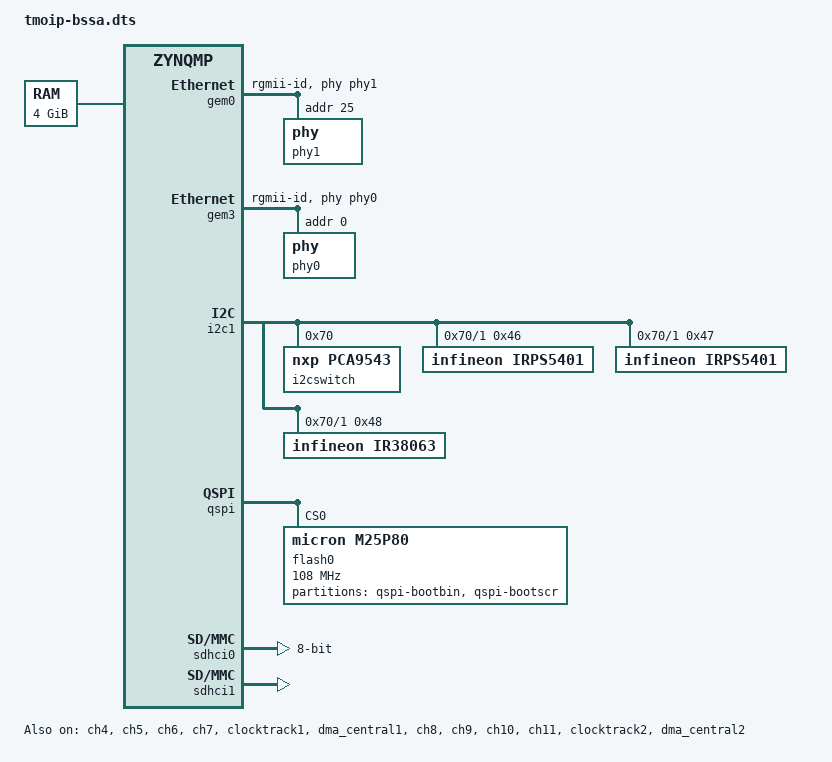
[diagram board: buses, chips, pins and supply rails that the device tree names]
/dts-v1/;
#include "zynqmp.dtsi"
#include "zynqmp-clk-ccf.dtsi"
#include "pl.dtsi"
#include "pcw.dtsi"
#include <dt-bindings/phy/phy.h>
#include <dt-bindings/net/ti-dp83867.h>
#include <dt-bindings/input/input.h>
#include <dt-bindings/gpio/gpio.h>
#include <dt-bindings/pinctrl/pinctrl-zynqmp.h>
#include <dt-bindings/interrupt-controller/irq.h>

/* From include/dt-bindings/clk/versaclock.h */
#define VC5_LVPECL   0
#define VC5_CMOS  1
#define VC5_HCSL33   2
#define VC5_LVDS  3
#define VC5_CMOS2 4
#define VC5_CMOSD 5
#define VC5_HCSL25   6

#define PLATFORM_TYPE_8_CHAN_3EG 0
#define PLATFORM_TYPE_TMOIP_3CH 1
#define PLATFORM_TYPE_TMOIP_12CH 2
#define PLATFORM_TYPE_AVNET_CC7EV 3
#define PLATFORM_TYPE_XILINX_ZCU102 4
#define PLATFORM_TYPE_TMOIP_MLSC 5
#define PLATFORM_TYPE_TMOIP_BSSA 6

/* <psgtr_phandle> <lane_number> <controller_type> <instance> <refclk> */
    
/ {
	chosen {
		bootargs = "earlycon console=ttyPS0,115200 clk_ignore_unused root=/dev/mmcblk1p2 rw rootwait";
		stdout-path = "serial0:115200n8";
	};
	aliases {
		ethernet0 = &gem3;
		ethernet1 = &gem0;
		serial0 = &uart0;
		serial1 = &uart1;
	};
	memory {
		device_type = "memory";
		reg = <0x0 0x0 0x0 0x7ff00000>, <0x00000008 0x00000000 0x0 0x80000000>;
	};

  	reserved-driver@0 {
      	compatible = "xlnx,reserved-memory";
		memory-region = <&reserved_fb>;
   	};	
   	reserved-memory {
        #address-cells = <2>;
        #size-cells = <2>;
		ranges;
  	   reserved_fb: buffer@0 {
           no-map;
		   reg = <0x0 0x10000000 0x0 0x4000000>;
      		   };
   	};

    framebuffer0: framebuffer@10000000 {
         compatible = "simple-framebuffer";
         #address-cells = <2>;
         #size-cells = <2>;
	 reg = <0x0 0x10000000 0x0 (160 * 128 * 2)>;
	 width = <160>;
	 height = <128>;
	 stride = < (160 * 2) >;
	 format = "r5g6b5";
	};
    framebuffer1: framebuffer@11000000 {
         compatible = "simple-framebuffer";
         #address-cells = <2>;
         #size-cells = <2>;
	 reg = <0x0 0x11000000 0x0 (160 * 128 * 2)>;
	 width = <160>;
	 height = <128>;
	 stride = < (160 * 2) >;
	 format = "r5g6b5";
	};
    framebuffer2: framebuffer@12000000 {
         compatible = "simple-framebuffer";
         #address-cells = <2>;
         #size-cells = <2>;
	 reg = <0x0 0x12000000 0x0 (160 * 128 * 2)>;
	 width = <160>;
	 height = <128>;
	 stride = < (160 * 2) >;
	 format = "r5g6b5";
	};
    framebuffer3: framebuffer@13000000 {
         compatible = "simple-framebuffer";
         #address-cells = <2>;
         #size-cells = <2>;
	 reg = <0x0 0x13000000 0x0 (160 * 128 * 2)>;
	 width = <160>;
	 height = <128>;
	 stride = < (160 * 2) >;
	 format = "r5g6b5";
	};
};


&fpd_dma_chan1 {
	status = "okay";
	#dma-cells = <1>;
	xlnx,bus-width = <128>;
};

&fpd_dma_chan2 {
	status = "okay";
	#dma-cells = <1>;
	xlnx,bus-width = <128>;
};

&fpd_dma_chan3 {
	status = "okay";
	#dma-cells = <1>;
	xlnx,bus-width = <128>;
};

&fpd_dma_chan4 {
	status = "okay";
	#dma-cells = <1>;
	xlnx,bus-width = <128>;
};

&amba_pl {
    ddr_mirror0: ddr_mirror@88000000 {
          compatible = "ddr_mirror-1.0";
	      clock-names = "axi_lite_aclk", "axis_in_aclk";
          clocks = <&misc_clk_0>, <&misc_clk_0>;
          reg = <0x0 0x88000000 0x0 0x1000 0x0 0xb8000000 0x0 0x4000000>;
          dmas = <&fpd_dma_chan4 0>;
          dma-names = "dma";
	};
	tmoip_system: tmoip_system@800D0000 {
	   compatible = "tmoip_system-1.0";
       reg = <0x0 0x800D0000 0x0 0x10000 0x0 0xa0100000 0x0 0x10000>;
       interrupt-parent = <&gic>;
       interrupts = <0 92 1>;
       num_channels = <12>;
       platform_type = <PLATFORM_TYPE_TMOIP_BSSA>;
    };
	ch0: channel@80000000 {
	      compatible = "channel-1.0";
	      clock-names = "axi_lite_aclk";
	      clocks = <&misc_clk_0>, <&misc_clk_0>;
	      reg = <0x0 0x80000000 0x0 0x10000>,
                <0x0 0x80010000 0x0 0x10000>,
                <0x0 0x80080000 0x0 0x10000>;
          reg-names = "channel_in", "channel_out", "line_test";                                        
 		  channel_number = <0>;
		  refclk_hz = <300000000>;
          pcmout_init_bitrate = <1000000>;
    };
	bitsync0: bit_sync@80410000 {
	      compatible = "bit_sync-1.0";
	      clock-names = "axi_lite_aclk";
	      clocks = <&misc_clk_0>, <&misc_clk_0>;
	      reg = <0x0 0x80410000 0x0 0x10000>;
 		  channel_number = <0>;
		  refclk_hz = <300000000>;
    };
	ch1: channel@80020000 {
	      compatible = "channel-1.0";
	      clock-names = "axi_lite_aclk";
	      clocks = <&misc_clk_0>, <&misc_clk_0>;
	      reg = <0x0 0x80020000 0x0 0x10000>,
                <0x0 0x80030000 0x0 0x10000>,
                <0x0 0x800E0000 0x0 0x10000>;
          reg-names = "channel_in", "channel_out", "line_test";                                        
 		  channel_number = <1>;
		  refclk_hz = <300000000>;
          pcmout_init_bitrate = <1000000>;
    };
	ch2: channel@80040000 {
	      compatible = "channel-1.0";
	      clock-names = "axi_lite_aclk";
	      clocks = <&misc_clk_0>, <&misc_clk_0>;
	      reg = <0x0 0x80040000 0x0 0x10000>,
                <0x0 0x80050000 0x0 0x10000>,
                <0x0 0x800F0000 0x0 0x10000>;
          reg-names = "channel_in", "channel_out", "line_test";                                        
 		  channel_number = <2>;
		  refclk_hz = <300000000>;
          pcmout_init_bitrate = <1000000>;
    };
	ch3: channel@80090000 {
	      compatible = "channel-1.0";
	      clock-names = "axi_lite_aclk";
	      clocks = <&misc_clk_0>, <&misc_clk_0>;
	      reg = <0x0 0x80090000 0x0 0x10000>,
                <0x0 0x800a0000 0x0 0x10000>,
                <0x0 0x800b0000 0x0 0x10000>;
          reg-names = "channel_in", "channel_out", "line_test";                                        
 		  channel_number = <3>;
		  refclk_hz = <300000000>;
          pcmout_init_bitrate = <1000000>;
    };
	clocktrack0: clocktrack@80060000 {
	      compatible = "clocktrack-1.0";
	      clock-names = "axi_lite_aclk";
	      clocks = <&misc_clk_0>, <&misc_clk_0>;
     	  reg = <0x0 0x80060000 0x0 0x10000>;
		  refclk_hz = <300000000>;
	      setpointcenter = <250000>;
	      setpointoffset = <50000>;
	      mincenter = <1500>;
	      minoffset = <300>;
    };
    dma_central0: dma_central@80070000 {
          compatible = "dma_central-1.0";
	      clock-names = "axi_lite_aclk", "axis_in_aclk";
          clocks = <&misc_clk_0>, <&misc_clk_0>;
          interrupt-parent = <&gic>;
          interrupts = <0 89 1>;
          reg = <0x0 0x80070000 0x0 0x1000 0x0 0xb0000000 0x0 0x100000>;
          start_channel = <0>;
          num_channels = <4>;
          int_retry_cnt = <500000>;
          dmas = <&fpd_dma_chan1 0>;
          dma-names = "dma";
	};
	ch4: channel@800c0000 {
	      compatible = "channel-1.0";
          status = "okay";
	      clock-names = "axi_lite_aclk";
	      clocks = <&misc_clk_0>, <&misc_clk_0>;
	      reg = <0x0 0x800c0000 0x0 0x10000>,
                <0x0 0x802a0000 0x0 0x10000>,
                <0x0 0x80100000 0x0 0x10000>;
          reg-names = "channel_in", "channel_out", "line_test";                                        
 		  channel_number = <4>;
		  refclk_hz = <300000000>;
          pcmout_init_bitrate = <1000000>;
    };
	ch5: channel@80110000 {
	      compatible = "channel-1.0";
          status = "okay";
	      clock-names = "axi_lite_aclk";
	      clocks = <&misc_clk_0>, <&misc_clk_0>;
	      reg = <0x0 0x80110000 0x0 0x10000>,
                <0x0 0x80120000 0x0 0x10000>,
                <0x0 0x80130000 0x0 0x10000>;
          reg-names = "channel_in", "channel_out", "line_test";                                        
 		  channel_number = <5>;
		  refclk_hz = <300000000>;
          pcmout_init_bitrate = <1000000>;
    };
	ch6: channel@80140000 {
	      compatible = "channel-1.0";
          status = "okay";
	      clock-names = "axi_lite_aclk";
	      clocks = <&misc_clk_0>, <&misc_clk_0>;
	      reg = <0x0 0x80140000 0x0 0x10000>,
                <0x0 0x80150000 0x0 0x10000>,
                <0x0 0x80160000 0x0 0x10000>;
          reg-names = "channel_in", "channel_out", "line_test";                                        
 		  channel_number = <6>;
		  refclk_hz = <300000000>;
          pcmout_init_bitrate = <1000000>;
    };
	ch7: channel@80170000 {
	      compatible = "channel-1.0";
          status = "okay";
	      clock-names = "axi_lite_aclk";
	      clocks = <&misc_clk_0>, <&misc_clk_0>;
	      reg = <0x0 0x80170000 0x0 0x10000>,
                <0x0 0x80180000 0x0 0x10000>,
                <0x0 0x80190000 0x0 0x10000>;
          reg-names = "channel_in", "channel_out", "line_test";                                        
 		  channel_number = <7>;
		  refclk_hz = <300000000>;
          pcmout_init_bitrate = <1000000>;
    };
	clocktrack1: clocktrack@801a0000 {
	      compatible = "clocktrack-1.0";
          status = "okay";
	      clock-names = "axi_lite_aclk";
	      clocks = <&misc_clk_0>, <&misc_clk_0>;
     	  reg = <0x0 0x801a0000 0x0 0x10000>;
		  refclk_hz = <300000000>;
	      setpointcenter = <250000>;
	      setpointoffset = <50000>;
	      mincenter = <1500>;
	      minoffset = <300>;
    };
    dma_central1: dma_central@801b0000 {
          compatible = "dma_central-1.0";
          status = "okay";
	      clock-names = "axi_lite_aclk", "axis_in_aclk";
          clocks = <&misc_clk_0>, <&misc_clk_0>;
          interrupt-parent = <&gic>;
          interrupts = <0 90 1>;
          reg = <0x0 0x801b0000 0x0 0x1000 0x0 0xa0000000 0x0 0x100000>;
          start_channel = <4>;
          num_channels = <4>;
          int_retry_cnt = <500000>;
          dmas = <&fpd_dma_chan2 0>;
          dma-names = "dma";
	};
	ch8: channel@80220000 {
	      compatible = "channel-1.0";
          status = "okay";
	      clock-names = "axi_lite_aclk";
	      clocks = <&misc_clk_0>, <&misc_clk_0>;
	      reg = <0x0 0x80220000 0x0 0x10000>,
                <0x0 0x80230000 0x0 0x10000>,
                <0x0 0x80240000 0x0 0x10000>;
          reg-names = "channel_in", "channel_out", "line_test";                                        
 		  channel_number = <8>;
		  refclk_hz = <300000000>;
          pcmout_init_bitrate = <1000000>;
    };
	ch9: channel@80250000 {
	      compatible = "channel-1.0";
          status = "okay";
	      clock-names = "axi_lite_aclk";
	      clocks = <&misc_clk_0>, <&misc_clk_0>;
	      reg = <0x0 0x80250000 0x0 0x10000>,
                <0x0 0x80260000 0x0 0x10000>,
                <0x0 0x80270000 0x0 0x10000>;
          reg-names = "channel_in", "channel_out", "line_test";                                        
 		  channel_number = <9>;
		  refclk_hz = <300000000>;
          pcmout_init_bitrate = <1000000>;
    };
	ch10: channel@801c0000 {
	      compatible = "channel-1.0";
          status = "okay";
	      clock-names = "axi_lite_aclk";
	      clocks = <&misc_clk_0>, <&misc_clk_0>;
	      reg = <0x0 0x801c0000 0x0 0x10000>,
                <0x0 0x801d0000 0x0 0x10000>,
                <0x0 0x801e0000 0x0 0x10000>;
          reg-names = "channel_in", "channel_out", "line_test";                                        
 		  channel_number = <10>;
		  refclk_hz = <300000000>;
          pcmout_init_bitrate = <1000000>;
    };
	ch11: channel@801f0000 {
	      compatible = "channel-1.0";
          status = "okay";
	      clock-names = "axi_lite_aclk";
	      clocks = <&misc_clk_0>, <&misc_clk_0>;
	      reg = <0x0 0x801f0000 0x0 0x10000>,
                <0x0 0x80200000 0x0 0x10000>,
                <0x0 0x80210000 0x0 0x10000>;
          reg-names = "channel_in", "channel_out", "line_test";                                        
 		  channel_number = <11>;
		  refclk_hz = <300000000>;
          pcmout_init_bitrate = <1000000>;
    };
	clocktrack2: clocktrack@80280000 {
	      compatible = "clocktrack-1.0";
          status = "okay";
	      clock-names = "axi_lite_aclk";
	      clocks = <&misc_clk_0>, <&misc_clk_0>;
     	  reg = <0x0 0x80280000 0x0 0x10000>;
		  refclk_hz = <300000000>;
	      setpointhi = <300000>;
	      setpointcenter = <250000>;
	      setpointoffset = <50000>;
	      mincenter = <1500>;
	      minoffset = <300>;
    };
    dma_central2: dma_central@80290000 {
          compatible = "dma_central-1.0";
          status = "okay";
	      clock-names = "axi_lite_aclk", "axis_in_aclk";
          clocks = <&misc_clk_0>, <&misc_clk_0>;
          interrupt-parent = <&gic>;
          interrupts = <0 91 1>;
          reg = <0x0 0x80290000 0x0 0x1000 0x0 0xb1000000 0x0 0x100000>;
          start_channel = <8>;
          num_channels = <4>;
          int_retry_cnt = <500000>;
          dmas = <&fpd_dma_chan3 0>;
          dma-names = "dma";
	};
    gth_if_224: gth_if@802e0000 {
       	  compatible = "gth_if-1.0";
     	  reg = <0x0 0x802e0000 0x0 0x10000>;
    };
    gth_if_225: gth_if@80310000 {
       	  compatible = "gth_if-1.0";
     	  reg = <0x0 0x80310000 0x0 0x10000>;
    };
    si5338: si5338@803C0000 {
       	  compatible = "si5338-1.0";
     	  reg = <0x0 0x803C0000 0x0 0x10000>;
    };
    bssaif_common: bssaif_common@84010000 {
	   compatible = "bssaif_common-1.0";
	   reg = <0x0 0x84010000 0x0 0x10000>;
    };
	bssaif_selector1: bssaif_selector@84210000 {
	   compatible = "bssaif_selector-1.0";
	   reg = <0x0 0x84210000 0x0 0x10000>;
    };
	bssaif_selector2: bssaif_selector@84220000 {
	   compatible = "bssaif_selector-1.0";
	   reg = <0x0 0x84220000 0x0 0x10000>;
    };
	bssaif_selector3: bssaif_selector@84230000 {
	   compatible = "bssaif_selector-1.0";
	   reg = <0x0 0x84230000 0x0 0x10000>;
    };
	bssaif_selector4: bssaif_selector@84240000 {
	   compatible = "bssaif_selector-1.0";
	   reg = <0x0 0x84240000 0x0 0x10000>;
    };
	bssaif_src1: bssaif_src@85010000 {
	   compatible = "bssaif_src-1.0";
	   reg = <0x0 0x85010000 0x0 0x10000>;
    };
	bssaif_src2: bssaif_src@85020000 {
	   compatible = "bssaif_src-1.0";
	   reg = <0x0 0x85020000 0x0 0x10000>;
    };
	bssaif_src3: bssaif_src@85030000 {
	   compatible = "bssaif_src-1.0";
	   reg = <0x0 0x85030000 0x0 0x10000>;
    };
	bssaif_src4: bssaif_src@85040000 {
	   compatible = "bssaif_src-1.0";
	   reg = <0x0 0x85040000 0x0 0x10000>;
    };
	bssaif_src5: bssaif_src@85050000 {
	   compatible = "bssaif_src-1.0";
	   reg = <0x0 0x85050000 0x0 0x10000>;
    };
	bssaif_src6: bssaif_src@85060000 {
	   compatible = "bssaif_src-1.0";
	   reg = <0x0 0x85060000 0x0 0x10000>;
    };
	bssaif_src7: bssaif_src@85070000 {
	   compatible = "bssaif_src-1.0";
	   reg = <0x0 0x85070000 0x0 0x10000>;
    };
	bssaif_src8: bssaif_src@85080000 {
	   compatible = "bssaif_src-1.0";
	   reg = <0x0 0x85080000 0x0 0x10000>;
    };
	bssaif_src9: bssaif_src@85090000 {
	   compatible = "bssaif_src-1.0";
	   reg = <0x0 0x85090000 0x0 0x10000>;
    };
	bssaif_src10: bssaif_src@850a0000 {
	   compatible = "bssaif_src-1.0";
	   reg = <0x0 0x850a0000 0x0 0x10000>;
    };
	bssaif_src11: bssaif_src@850b0000 {
	   compatible = "bssaif_src-1.0";
	   reg = <0x0 0x850b0000 0x0 0x10000>;
    };
	bssaif_src12: bssaif_src@850c0000 {
	   compatible = "bssaif_src-1.0";
	   reg = <0x0 0x850c0000 0x0 0x10000>;
    };
	som2som_gth_224_0: som2som_gth@80300000 {
	   compatible = "som2som_gth-1.0";
	   reg = <0x0 0x80300000 0x0 0x10000>;
    };
	som2som_gth_224_1: som2som_gth@80320000 {
	   compatible = "som2som_gth-1.0";
	   reg = <0x0 0x80320000 0x0 0x10000>;
    };
	som2som_gth_224_2: som2som_gth@803D0000 {
	   compatible = "som2som_gth-1.0";
	   reg = <0x0 0x803D0000 0x0 0x10000>;
    };
	som2som_gth_224_3: som2som_gth@803E0000 {
	   compatible = "som2som_gth-1.0";
	   reg = <0x0 0x803E0000 0x0 0x10000>;
    };
	bssa_system0: system_bssa@803F0000 {
	   compatible = "system_bssa-1.0";
	   reg = <0x0 0x803F0000 0x0 0x10000>;
    };
	reg_mirror_check0: reg_mirror_check@80400000 {
	   compatible = "reg_mirror_check-1.0";
	   reg = <0x0 0x80400000 0x0 0x10000>;
    };
};

&gpio {
	status = "okay";
};

&gem0 {
	status = "okay";
	local-mac-address = [00 0a 35 00 02 90];
	phy-mode = "rgmii-id";
	xlnx,ptp-enet-clock = <0x0>;
	phy-handle = <&phy1>;
	phy1: phy@19 {
		reg = <0x19>;
		ti,rx-internal-delay = <DP83867_RGMIIDCTL_2_00_NS>;
		ti,tx-internal-delay = <DP83867_RGMIIDCTL_2_00_NS>;
		ti,fifo-depth = <0x1>;
	};
};

&gem3 {
	status = "okay";
	local-mac-address = [00 0a 35 00 02 91];
	phy-mode = "rgmii-id";
	xlnx,ptp-enet-clock = <0x0>;
	phy-mode = "rgmii-id";
	phy-handle = <&phy0>;
	phy0: phy@0 {
		reg = <0x0>;
		ti,rx-internal-delay = <0x5>;
		ti,tx-internal-delay = <0x5>;
		ti,fifo-depth = <0x1>;
	};
};

&i2c1 {
   i2cswitch@70 { /* U7 on UZ3EG SOM, U8 on UZ7EV SOM */
      compatible = "nxp,pca9543";
      #address-cells = <1>;
      #size-cells = <0>;
      reg = <0x70>;
      i2c@0 { /* i2c mw 70 0 1 */
         #address-cells = <1>;
         #size-cells = <0>;
         reg = <0>;
      };

      i2c@1 {
         #address-cells = <0x1>;
         #size-cells = <0x0>;
         reg = <0x1>;

         irps5401@46 { /* IRPS5401 - U24 on UZ7EV SOM*/
            compatible = "infineon,irps5401";
            reg = <0x46>;
         };

         irps5401@47 { /* IRPS5401 - U25 on UZ7EV SOM*/
            compatible = "infineon,irps5401";
            reg = <0x47>;
         };

         ir38063@48 { /* IR38063 - U26 on UZ7EV SOM*/
            compatible = "infineon,ir38063";
            reg = <0x48>;
         };
      };
   };
};

&qspi {
   #address-cells = <1>;
   #size-cells = <0>;
   status = "okay";
   is-dual = <1>; /* Set for dual-parallel QSPI config */
   num-cs = <2>;
   xlnx,fb-clk = <0x1>;
   flash0: flash@0 {
      /* The Flash described below doesn't match our board ("micron,n25qu256a"), but is needed */
      /* so the Flash MTD partitions are correctly identified in /proc/mtd */
      compatible = "micron,m25p80","jedec,spi-nor"; /* 32MB */
      #address-cells = <1>;
      #size-cells = <1>;
      reg = <0x0>;
      spi-tx-bus-width = <1>;
      spi-rx-bus-width = <4>; /* FIXME also DUAL configuration possible */
      spi-max-frequency = <108000000>; /* Set to 108000000 Based on DC1 spec */
      /* MTD Partitioning:
       *   Boot.bin needs at least 20MB
       *   boot.scr must go at 0x3E80000
       */
      partition@qspi-bootbin {
	      label = "qspi-bootbin";
	      reg = <0x0 0x2000000>;
      };
      partition@qspi-bootscr {
	      label = "qspi-bootscr";
	      reg = <0x3E80000 0x80000>;
      };
   };
};

/* SD0 eMMC, 8-bit wide data bus */
&sdhci0 {
   status = "okay";
   bus-width = <8>;
   max-frequency = <50000000>;
};

/* SD1 with level shifter */
&sdhci1 {
   status = "okay";
   disable-wp;
   max-frequency = <50000000>;
   no-1-8-v;   /* for 1.0 silicon */
};

